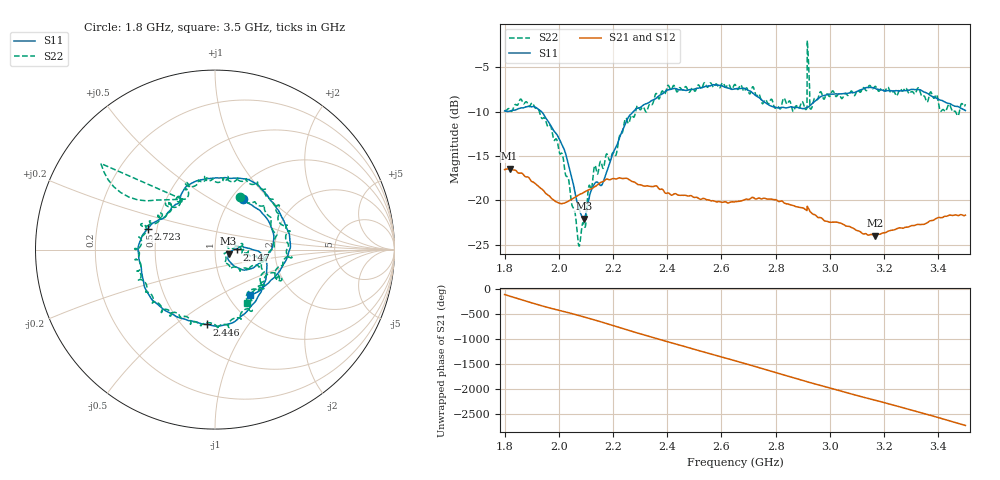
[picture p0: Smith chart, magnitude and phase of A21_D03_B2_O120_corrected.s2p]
! Created with skrf 1.9.0 (http://scikit-rf.org).
# Hz S RI R 50.0
!freq ReS11 ImS11 ReS21 ImS21 ReS12 ImS12 ReS22 ImS22
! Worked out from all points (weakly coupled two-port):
!   1601 points, 1.8 GHz to 3.5 GHz, reference 50 ohm
!   highest |S21| = -16.43 dB at 1.818 GHz (marker M1); lowest = -24.0 dB at 3.165 GHz (marker M2)
!   lowest |S11| = -22.1 dB at 2.092 GHz (marker M3), VSWR 1.17, Z = 58.1 - j2.71 ohm
!   |S11| at or under -10 dB: 1.936 GHz to 2.275 GHz (339.1 MHz wide, 16.1 % of centre)
!   |S22| runs from -25.2 to -2.0 dB; largest |S21 - S12| = 0.0025
!   S11 on the Smith chart (normalised r, x): 1.8 GHz: 1.13, +0.70; 2.147 GHz: 1.28, +0.00; 2.446 GHz: 0.65, -0.66; 2.723 GHz: 0.44, +0.12; 3.5 GHz: 1.26, -0.72
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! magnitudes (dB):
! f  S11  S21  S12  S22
! 1.8 GHz  -9.9  -16.5  -16.5  -9.8
! 1.818 GHz  -10.0  -16.4  -16.5  -9.7
! 1.903 GHz  -9.4  -17.9  -17.9  -9.0
! 1.968 GHz  -11.4  -19.6  -19.7  -11.6
! 2.015 GHz  -13.9  -20.4  -20.4  -15.0
! 2.072 GHz  -20.7  -19.4  -19.5  -24.9
! 2.084 GHz  -21.7  -19.3  -19.2  -23.2
! 2.092 GHz  -22.1  -19.1  -19.2  -22.7
! 2.112 GHz  -19.6  -18.8  -18.8  -18.3
! 2.147 GHz  -18.1  -18.2  -18.1  -16.4
! 2.259 GHz  -10.5  -17.7  -17.7  -11.3
! 2.367 GHz  -8.3  -18.6  -18.6  -8.5
! 2.446 GHz  -7.5  -19.4  -19.4  -7.3
! 2.65 GHz  -7.4  -20.2  -20.1  -6.9
! 2.723 GHz  -8.1  -19.8  -19.8  -7.8
! 2.868 GHz  -9.5  -20.6  -20.6  -9.9
! 2.907 GHz  -9.6  -21.0  -20.9  -9.6
! 2.925 GHz  -9.4  -21.2  -21.1  -7.4
! 2.934 GHz  -9.1  -21.5  -21.5  -9.5
! 3.165 GHz  -7.3  -24.0  -24.0  -7.2
! 3.217 GHz  -7.6  -23.5  -23.4  -7.4
! 3.5 GHz  -9.9  -21.7  -21.7  -9.2
